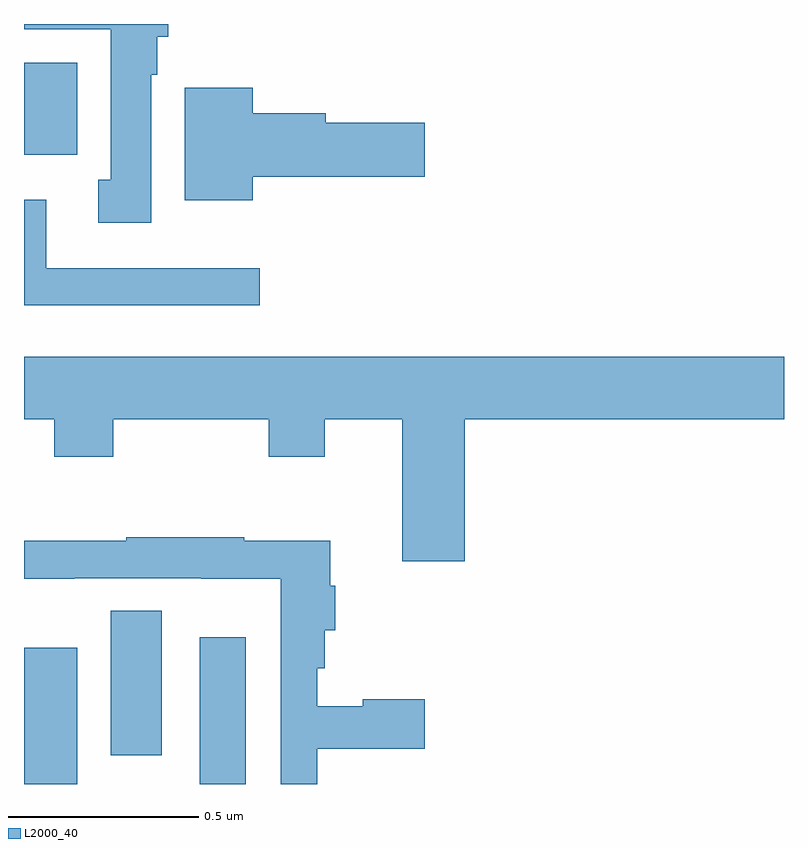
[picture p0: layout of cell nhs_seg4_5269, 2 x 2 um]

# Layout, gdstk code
import gdstk
lib = gdstk.Library(unit=1e-6, precision=1e-09)
def R(c, l, rs):  # rectangles x0, y0, x1, y1
    for r in rs: c.add(gdstk.rectangle(r[:2], r[2:], *l))
def P(c, l, *ps):  # polygons
    for p in ps: c.add(gdstk.Polygon(p, *l))
L2000_40 = (2000, 40)

nhs_seg4_5269 = lib.new_cell('nhs_seg4_5269')
R(nhs_seg4_5269, L2000_40, [(176,755.9,176.14,756.259), (176.462,755.9,176.584,756.286), (176.228,755.976,176.362,756.356), (176,757.556,176.14,757.798)])
P(nhs_seg4_5269, L2000_40, [(176.335,757.766),(176.35,757.766),(176.35,757.866),(176.38,757.866),(176.38,757.9),(176,757.9),(176,757.886),(176.228,757.886),(176.228,757.49),(176.195,757.49),(176.195,757.377),(176.335,757.377)],
  [(176.602,757.498),(177.055,757.498),(177.055,757.64),(176.794,757.64),(176.794,757.665),(176.602,757.665),(176.602,757.732),(176.423,757.732),(176.423,757.436),(176.602,757.436)],
  [(176.62,757.257),(176.059,757.257),(176.059,757.438),(176,757.438),(176,757.16),(176.62,757.16)],
  [(177.16,756.86),(178,756.86),(178,757.024),(176,757.024),(176,756.86),(176.08,756.86),(176.08,756.761),(176.235,756.761),(176.235,756.86),(176.644,756.86),(176.644,756.761),(176.791,756.761),(176.791,756.86),(176.996,756.86),(176.996,756.486),(177.16,756.486)],
  [(176.772,755.993),(177.055,755.993),(177.055,756.123),(176.892,756.123),(176.892,756.104),(176.772,756.104),(176.772,756.204),(176.792,756.204),(176.792,756.305),(176.819,756.305),(176.819,756.422),(176.806,756.422),(176.806,756.54),(176.579,756.54),(176.579,756.55),(176.269,756.55),(176.269,756.54),(176,756.54),(176,756.44),(176.132,756.44),(176.132,756.441),(176.466,756.441),(176.466,756.44),(176.676,756.44),(176.676,755.9),(176.772,755.9)])

lib.write_gds('nhs_seg4_5269.gds')
